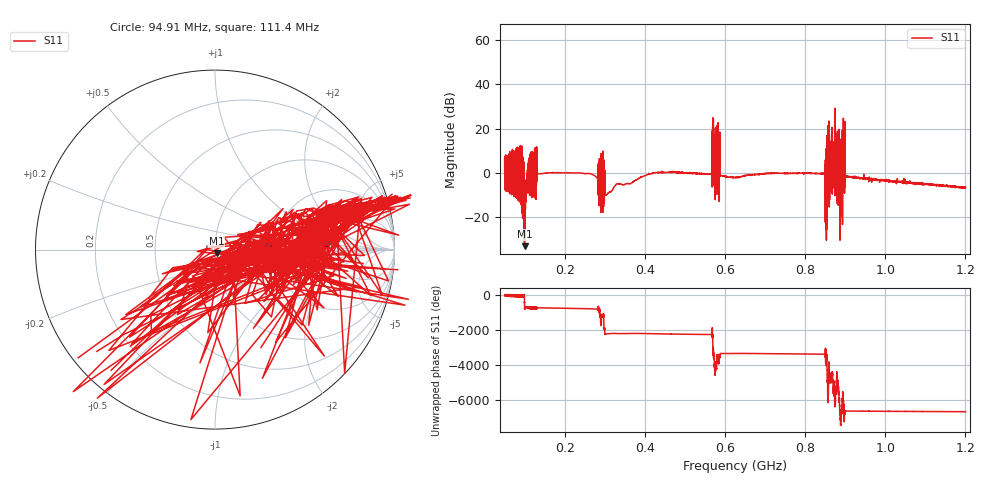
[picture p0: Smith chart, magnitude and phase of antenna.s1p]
! Calibrated high-resolution NanoVNA antenna measurement
# Hz S RI R 50
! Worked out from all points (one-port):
!   40001 points, 50 MHz to 1.2 GHz, reference 50 ohm
!   lowest |S11| = -33.1 dB at 99.68 MHz (marker M1), VSWR 1.05, Z = 50.8 - j2.07 ohm
!   |S11| at or under -10 dB: 99.30652 MHz to 99.43698 MHz (130.5 kHz wide, 0.131 % of centre); 101.0148 MHz to 101.1925 MHz (177.6 kHz wide, 0.176 % of centre); 101.822 MHz to 101.9663 MHz (144.3 kHz wide, 0.142 % of centre) (the widest 3 of 322)
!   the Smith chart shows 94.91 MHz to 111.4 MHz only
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5e7  2.004 -0.6561
8.815125e7  0.3792 -3.593
9.968e7  0.00878 -0.0203
1.169875e8  2.487 -0.2808
1.9375e8  0.6548 -0.7685
2.654812e8  0.0668 -0.9507
2.897462e8  -0.4146 -0.8648
3.375e8  0.2689 -0.4943
4.8125e8  -0.0636 -1.028
5.623538e8  -0.3917 -0.8508
5.689375e8  -2.021 -0.2018
5.740262e8  0.0139 0.9963
5.74055e8  7.055 -1.167
5.740838e8  -0.7687 -0.5397
5.821912e8  -1.493 1.744
5.85555e8  0.0938 1.556
5.855838e8  -2.874 0.4893
5.937488e8  -0.4347 -0.7451
6.25e8  -0.3787 -0.6885
7.6875e8  -0.7796 -0.5995
8.443912e8  -0.8987 -0.3479
8.5776e8  0.0573 -0.7807
8.670462e8  -2.558 1.354
8.942438e8  0.0626 0.0664
9.057725e8  -0.8163 -0.096
9.125e8  -0.8093 -0.0793
1.05625e9  -0.5974 0.1316
1.2e9  -0.4007 0.2297
